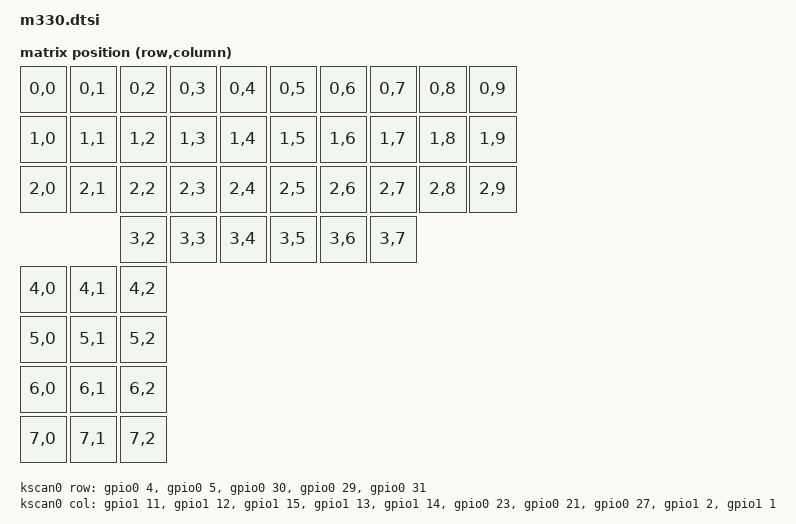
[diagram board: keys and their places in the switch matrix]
/*
 * Copyright (c) 2020 Pete Johanson
 *
 * SPDX-License-Identifier: MIT
 */

#include <dt-bindings/zmk/matrix_transform.h>

/ {
	chosen {
		zmk,kscan = &kscan0;
		zmk,matrix-transform = &default_transform;
	};

	default_transform: keymap_transform_0 {
		compatible = "zmk,matrix-transform";
		columns = <10>;
		rows = <5>;
		map = <
RC(0,0) RC(0,1) RC(0,2) RC(0,3) RC(0,4)  RC(0,5) RC(0,6) RC(0,7) RC(0,8) RC(0,9)
RC(1,0) RC(1,1) RC(1,2) RC(1,3) RC(1,4)  RC(1,5) RC(1,6) RC(1,7) RC(1,8) RC(1,9)
RC(2,0) RC(2,1) RC(2,2) RC(2,3) RC(2,4)  RC(2,5) RC(2,6) RC(2,7) RC(2,8) RC(2,9)
                RC(3,2) RC(3,3) RC(3,4)  RC(3,5) RC(3,6) RC(3,7)
RC(4,0) RC(4,1) RC(4,2)
RC(5,0) RC(5,1) RC(5,2)
RC(6,0) RC(6,1) RC(6,2)
RC(7,0) RC(7,1) RC(7,2)
		>;
	};

	kscan0: kscan {
		compatible = "zmk,kscan-gpio-matrix";
		label = "KSCAN";
		diode-direction = "col2row";
		wakeup-source;
		row-gpios
            = <&gpio0 4 (GPIO_ACTIVE_HIGH | GPIO_PULL_DOWN)>
            , <&gpio0 5 (GPIO_ACTIVE_HIGH | GPIO_PULL_DOWN)>
            , <&gpio0 30 (GPIO_ACTIVE_HIGH | GPIO_PULL_DOWN)>
						, <&gpio0 29 (GPIO_ACTIVE_HIGH | GPIO_PULL_DOWN)>
						, <&gpio0 31 (GPIO_ACTIVE_HIGH | GPIO_PULL_DOWN)>
            ;
		
		col-gpios
            = <&gpio1 11 GPIO_ACTIVE_HIGH>
            , <&gpio1 12 GPIO_ACTIVE_HIGH>
            , <&gpio1 15 GPIO_ACTIVE_HIGH>
            , <&gpio1 13 GPIO_ACTIVE_HIGH>
            , <&gpio1 14 GPIO_ACTIVE_HIGH>
            , <&gpio0 23 GPIO_ACTIVE_HIGH>
            , <&gpio0 21 GPIO_ACTIVE_HIGH>
            , <&gpio0 27 GPIO_ACTIVE_HIGH>
            , <&gpio1 2 GPIO_ACTIVE_HIGH>
            , <&gpio1 1 GPIO_ACTIVE_HIGH>
						;
	};

	// use this to switch off the BLUE LED only!!
	EXT_POWER {
			compatible = "zmk,ext-power-generic";
			control-gpios = <&gpio0 6 GPIO_ACTIVE_HIGH>;
			init-delay-ms = <50>;
	};

};
